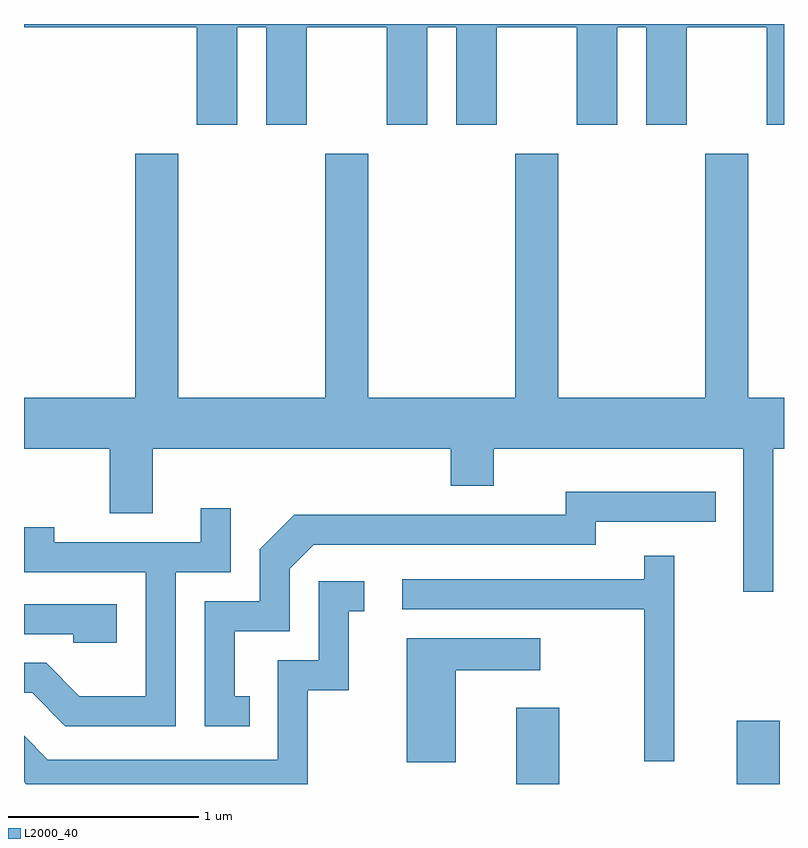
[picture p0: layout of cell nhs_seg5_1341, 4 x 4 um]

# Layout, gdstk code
import gdstk
lib = gdstk.Library(unit=1e-6, precision=1e-09)
def R(c, l, rs):  # rectangles x0, y0, x1, y1
    for r in rs: c.add(gdstk.rectangle(r[:2], r[2:], *l))
def P(c, l, *ps):  # polygons
    for p in ps: c.add(gdstk.Polygon(p, *l))
L2000_40 = (2000, 40)

nhs_seg5_1341 = lib.new_cell('nhs_seg5_1341')
R(nhs_seg5_1341, L2000_40, [(226.201,1526.072,226.429,1526.474), (227.361,1526.072,227.589,1526.404)])
P(nhs_seg5_1341, L2000_40, [(224.734,1530.056),(224.886,1530.056),(224.886,1529.541),(225.099,1529.541),(225.099,1530.056),(225.521,1530.056),(225.521,1529.541),(225.734,1529.541),(225.734,1530.056),(225.886,1530.056),(225.886,1529.541),(226.099,1529.541),(226.099,1530.056),(226.521,1530.056),(226.521,1529.541),(226.734,1529.541),(226.734,1530.056),(226.886,1530.056),(226.886,1529.541),(227.099,1529.541),(227.099,1530.056),(227.521,1530.056),(227.521,1529.541),(227.611,1529.541),(227.611,1530.072),(223.611,1530.072),(223.611,1530.056),(224.521,1530.056),(224.521,1529.541),(224.734,1529.541)],
  [(227.554,1527.836),(227.611,1527.836),(227.611,1528.104),(227.424,1528.104),(227.424,1529.389),(227.196,1529.389),(227.196,1528.104),(226.424,1528.104),(226.424,1529.389),(226.196,1529.389),(226.196,1528.104),(225.424,1528.104),(225.424,1529.389),(225.196,1529.389),(225.196,1528.104),(224.424,1528.104),(224.424,1529.389),(224.196,1529.389),(224.196,1528.104),(223.611,1528.104),(223.611,1527.836),(224.061,1527.836),(224.061,1527.496),(224.289,1527.496),(224.289,1527.836),(225.856,1527.836),(225.856,1527.641),(226.084,1527.641),(226.084,1527.836),(227.396,1527.836),(227.396,1527.083),(227.554,1527.083)],
  [(224.798,1526.534),(224.719,1526.534),(224.719,1526.876),(225.009,1526.876),(225.009,1527.204),(225.137,1527.331),(226.619,1527.331),(226.619,1527.451),(227.253,1527.451),(227.253,1527.609),(226.461,1527.609),(226.461,1527.489),(225.034,1527.489),(224.851,1527.307),(224.851,1527.034),(224.561,1527.034),(224.561,1526.376),(224.798,1526.376)],
  [(224.409,1527.186),(224.699,1527.186),(224.699,1527.523),(224.541,1527.523),(224.541,1527.344),(223.769,1527.344),(223.769,1527.423),(223.611,1527.423),(223.611,1527.186),(224.251,1527.186),(224.251,1526.534),(223.902,1526.534),(223.727,1526.709),(223.611,1526.709),(223.611,1526.551),(223.654,1526.551),(223.829,1526.376),(224.409,1526.376)],
  [(227.034,1527.273),(226.876,1527.273),(226.876,1527.149),(225.603,1527.149),(225.603,1526.991),(226.876,1526.991),(226.876,1526.193),(227.034,1526.193)],
  [(225.104,1526.566),(225.319,1526.566),(225.319,1526.981),(225.403,1526.981),(225.403,1527.139),(225.161,1527.139),(225.161,1526.724),(224.946,1526.724),(224.946,1526.199),(223.737,1526.199),(223.611,1526.325),(223.611,1526.084),(223.623,1526.072),(225.104,1526.072)],
  [(224.099,1527.019),(223.611,1527.019),(223.611,1526.861),(223.871,1526.861),(223.871,1526.816),(224.099,1526.816)],
  [(225.884,1526.671),(226.328,1526.671),(226.328,1526.839),(225.626,1526.839),(225.626,1526.186),(225.884,1526.186)])

lib.write_gds('nhs_seg5_1341.gds')
